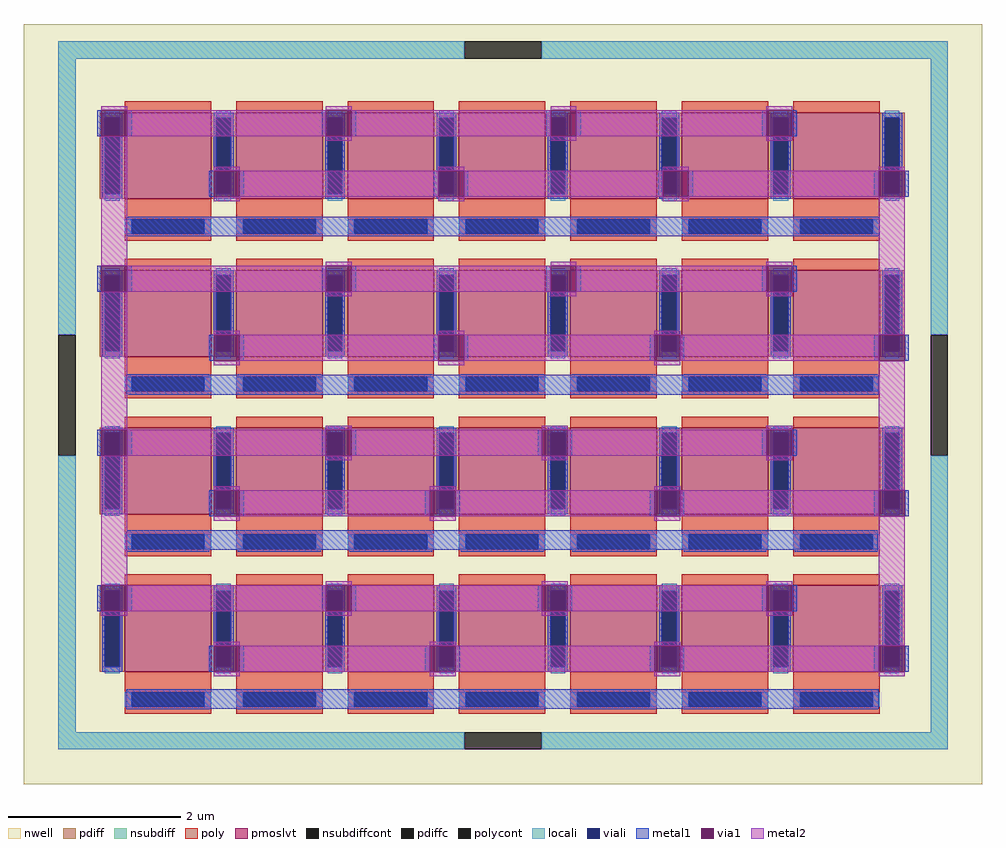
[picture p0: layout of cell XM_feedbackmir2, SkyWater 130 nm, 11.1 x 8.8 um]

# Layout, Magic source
magic
tech sky130A
magscale 1 2
<< nwell >>
rect -140 -160 2080 1600
<< nsubdiff >>
rect -60 1520 880 1560
rect 1060 1520 2000 1560
rect -60 880 -20 1520
rect -60 -40 -20 600
rect 1960 880 2000 1520
rect 1960 -40 2000 600
rect -60 -80 880 -40
rect 1060 -80 2000 -40
<< nsubdiffcont >>
rect 880 1520 1060 1560
rect -60 600 -20 880
rect 1960 600 2000 880
rect 880 -80 1060 -40
<< locali >>
rect -60 1520 880 1560
rect 1060 1520 2000 1560
rect -60 880 -20 1520
rect -60 -40 -20 600
rect 1960 880 2000 1520
rect 1960 -40 2000 600
rect -60 -80 880 -40
rect 1060 -80 2000 -40
<< metal1 >>
rect 30 1340 40 1400
rect 100 1340 110 1400
rect 550 1340 560 1400
rect 620 1340 630 1400
rect 1070 1340 1080 1400
rect 1140 1340 1150 1400
rect 1570 1340 1580 1400
rect 1640 1340 1650 1400
rect 290 1200 300 1260
rect 360 1200 370 1260
rect 810 1200 820 1260
rect 880 1200 890 1260
rect 1330 1200 1340 1260
rect 1400 1200 1410 1260
rect 1830 1200 1840 1260
rect 1900 1200 1910 1260
rect 104 1108 1842 1154
rect 30 980 40 1040
rect 100 980 110 1040
rect 550 980 560 1040
rect 620 980 630 1040
rect 1070 980 1080 1040
rect 1140 980 1150 1040
rect 1570 980 1580 1040
rect 1640 980 1650 1040
rect 290 820 300 880
rect 360 820 370 880
rect 810 820 820 880
rect 880 820 890 880
rect 1310 820 1320 880
rect 1380 820 1390 880
rect 1830 820 1840 880
rect 1900 820 1910 880
rect 102 742 1840 788
rect 30 600 40 660
rect 100 600 110 660
rect 550 600 560 660
rect 620 600 630 660
rect 1050 600 1060 660
rect 1120 600 1130 660
rect 1570 600 1580 660
rect 1640 600 1650 660
rect 290 460 300 520
rect 360 460 370 520
rect 790 460 800 520
rect 860 460 870 520
rect 1310 460 1320 520
rect 1380 460 1390 520
rect 1830 460 1840 520
rect 1900 460 1910 520
rect 100 382 1838 428
rect 30 240 40 300
rect 100 240 110 300
rect 550 240 560 300
rect 620 240 630 300
rect 1050 240 1060 300
rect 1120 240 1130 300
rect 1570 240 1580 300
rect 1640 240 1650 300
rect 290 100 300 160
rect 360 100 370 160
rect 790 100 800 160
rect 860 100 870 160
rect 1310 100 1320 160
rect 1380 100 1390 160
rect 1830 100 1840 160
rect 1900 100 1910 160
rect 102 14 1840 60
<< via1 >>
rect 40 1340 100 1400
rect 560 1340 620 1400
rect 1080 1340 1140 1400
rect 1580 1340 1640 1400
rect 300 1200 360 1260
rect 820 1200 880 1260
rect 1340 1200 1400 1260
rect 1840 1200 1900 1260
rect 40 980 100 1040
rect 560 980 620 1040
rect 1080 980 1140 1040
rect 1580 980 1640 1040
rect 300 820 360 880
rect 820 820 880 880
rect 1320 820 1380 880
rect 1840 820 1900 880
rect 40 600 100 660
rect 560 600 620 660
rect 1060 600 1120 660
rect 1580 600 1640 660
rect 300 460 360 520
rect 800 460 860 520
rect 1320 460 1380 520
rect 1840 460 1900 520
rect 40 240 100 300
rect 560 240 620 300
rect 1060 240 1120 300
rect 1580 240 1640 300
rect 300 100 360 160
rect 800 100 860 160
rect 1320 100 1380 160
rect 1840 100 1900 160
<< metal2 >>
rect 40 1400 100 1410
rect 560 1400 620 1410
rect 1080 1400 1140 1410
rect 1580 1400 1640 1410
rect 100 1340 560 1400
rect 620 1340 1080 1400
rect 1140 1340 1580 1400
rect 40 1040 100 1340
rect 560 1330 620 1340
rect 1080 1330 1140 1340
rect 1580 1330 1640 1340
rect 300 1260 360 1270
rect 820 1260 880 1270
rect 1340 1260 1400 1270
rect 1840 1260 1900 1270
rect 360 1200 820 1260
rect 880 1200 1340 1260
rect 1400 1200 1840 1260
rect 300 1190 360 1200
rect 820 1190 880 1200
rect 1340 1190 1400 1200
rect 560 1040 620 1050
rect 1080 1040 1140 1050
rect 1580 1040 1640 1050
rect 100 980 560 1040
rect 620 980 1080 1040
rect 1140 980 1580 1040
rect 40 660 100 980
rect 560 970 620 980
rect 1080 970 1140 980
rect 1580 970 1640 980
rect 300 880 360 890
rect 820 880 880 890
rect 1320 880 1380 890
rect 1840 880 1900 1200
rect 360 820 820 880
rect 880 820 1320 880
rect 1380 820 1840 880
rect 300 810 360 820
rect 820 810 880 820
rect 1320 810 1380 820
rect 560 660 620 670
rect 1060 660 1120 670
rect 1580 660 1640 670
rect 100 600 560 660
rect 620 600 1060 660
rect 1120 600 1580 660
rect 40 300 100 600
rect 560 590 620 600
rect 1060 590 1120 600
rect 1580 590 1640 600
rect 300 520 360 530
rect 800 520 860 530
rect 1320 520 1380 530
rect 1840 520 1900 820
rect 360 460 800 520
rect 860 460 1320 520
rect 1380 460 1840 520
rect 300 450 360 460
rect 800 450 860 460
rect 1320 450 1380 460
rect 560 300 620 310
rect 1060 300 1120 310
rect 1580 300 1640 310
rect 100 240 560 300
rect 620 240 1060 300
rect 1120 240 1580 300
rect 40 230 100 240
rect 560 230 620 240
rect 1060 230 1120 240
rect 1580 230 1640 240
rect 300 160 360 170
rect 800 160 860 170
rect 1320 160 1380 170
rect 1840 160 1900 460
rect 360 100 800 160
rect 860 100 1320 160
rect 1380 100 1840 160
rect 300 90 360 100
rect 800 90 860 100
rect 1320 90 1380 100
rect 1840 90 1900 100
use sky130_fd_pr__pfet_01v8_lvt_9UM225  sky130_fd_pr__pfet_01v8_lvt_9UM225_0
transform 1 0 968 0 1 712
box -968 -712 968 745
<< end >>

# cell sky130_fd_pr__pfet_01v8_lvt_9UM225: kit device sky130_fd_pr__pfet_01v8_lvt, w 1 l 1 m 4 nf 7 diffcov 100 polycov 100 guard 0 glc 1 grc 1 gtc 1 gbc 1 tbcov 100 rlcov 100 topc 0 botc 1 poverlap 0 doverlap 1 lmin 0.35 wmin 0.42 compatible {sky130_fd_pr__pfet_01v8 sky130_fd_pr__pfet_01v8_lvt sky130_fd_pr__pfet_01v8_hvt sky130_fd_pr__pfet_g5v0d10v5} full_metal 0 viasrc 100 viadrn 100 viagate 100 viagb 0 viagr 0 viagl 0 viagt 0
